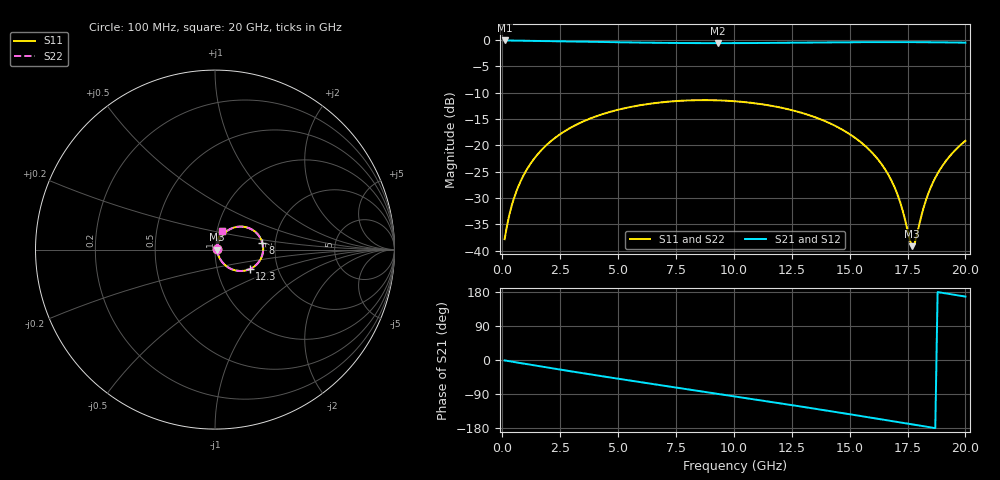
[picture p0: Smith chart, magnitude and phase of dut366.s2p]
! Touchstone file exported from HFSS 2026.1.0
!  File:  C:/ffzhzh/LocalFiles/Ansys_Project_Files/temp_train_TSV_RDL_366_1783039665_53980.aedt
!  Generated:  08:57:09 AM Jul  3, 2026
!  Design:  TSV_RDL
!  Project:  temp_train_TSV_RDL_366_1783039665_53980
! Variables:
!  h_bsmrdl = 5.72um
!  h_ox = 20um
!  h_rdl = 5um
!  h_sub = 50.29um
!  h_tmrdl = 4.52um
!  h_tsv = 50.29um
!  h_via = 3um
!  l_bsmrdl = 556.3um
!  l_sub = 3112.34um
!  l_tmrdl = 234.31um
!  m_sub = 200um
!  pitch = 34.56um
!  r_tsv = 14.77um
!  s_tmrdl = 10um
!  w_bsmrdl = 16.83um
!  w_sub = 500um
!  w_tmrdl = 18.57um
!  x_tsv_center1 = 243.595um
!  x_tsv_center2 = 816.725um
!  x_tsv_center3 = 1069.605um
!  x_tsv_center4 = 1642.735um
!  x_tsv_center5 = 1895.615um
!  x_tsv_center6 = 2468.745um
# GHz S MA R 50.000000
! Terminal data exported
! Port[1] = TM_RDL1_1_T1
! Port[2] = TM_RDL5_1_T1
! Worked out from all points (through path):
!   200 points, 100 MHz to 20 GHz, reference 50 ohm
!   highest |S21| = -0.10 dB at 100 MHz (marker M1); lowest = -0.6 dB at 9.3 GHz (marker M2)
!   group delay of S21, straight-line fit = 26.4 ps
!   lowest |S11| = -39.1 dB at 17.7 GHz (marker M3), VSWR 1.02, Z = 51.1 - j0.00403 ohm
!   |S11| at or under -10 dB: start of sweep to end of sweep
!   |S22| runs from -39.1 to -11.4 dB; largest |S21 - S12| = 5.3e-14
!   S11 on the Smith chart (normalised r, x): 100 MHz: 1.02, +0.01; 8 GHz: 1.71, +0.14; 12.3 GHz: 1.43, -0.33; 20 GHz: 1.06, +0.22
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0.1  0.01288 28.4  0.9888 -1.1  0.9888 -1.1  0.01288 28.4
! Gamma 0 0 0 0
! Port Impedance 50 0 50 0
0.3  0.02172 51.6  0.9873 -3.2  0.9873 -3.2  0.02172 51.6
0.5  0.03127 59.4  0.9861 -5.2  0.9861 -5.2  0.03127 59.4
1.2  0.06602 64.4  0.9826 -12.3  0.9826 -12.3  0.06602 64.4
2.2  0.1142 58.8  0.9756 -22.3  0.9756 -22.3  0.1142 58.8
3.5  0.1688 47.7  0.9639 -35.1  0.9639 -35.1  0.1688 47.7
6.8  0.2549 18.5  0.9385 -66.2  0.9385 -66.2  0.2549 18.5
8  0.2666 8.0  0.9339 -77.2  0.9339 -77.2  0.2666 8.0
9.3  0.2673 -3.3  0.9323 -89.2  0.9323 -89.2  0.2672 -3.3
10.1  0.2614 -10.3  0.9329 -96.5  0.9329 -96.5  0.2614 -10.3
12.3  0.2212 -29.6  0.9398 -117.1  0.9398 -117.1  0.2212 -29.6
13.4  0.1885 -39.2  0.9447 -127.6  0.9447 -127.6  0.1884 -39.2
15.4  0.1107 -55.7  0.9522 -147.0  0.9522 -147.0  0.1107 -55.7
16.1  0.07927 -60.1  0.9536 -153.9  0.9536 -153.9  0.07926 -60.1
16.7  0.05132 -61.5  0.9541 -159.9  0.9541 -159.9  0.05131 -61.4
17.2  0.02811 -55.7  0.9539 -164.9  0.9539 -164.9  0.02812 -55.5
17.7  0.01105 -0.2  0.9531 -169.8  0.9531 -169.8  0.01113 -0.0
17.8  0.01157 23.9  0.9529 -170.8  0.9529 -170.8  0.01165 23.9
18.3  0.03039 69.5  0.9514 -175.8  0.9514 -175.8  0.03044 69.4
18.7  0.04923 74.0  0.9499 -179.8  0.9499 -179.8  0.04926 73.9
19.3  0.07782 73.0  0.9469 174.3  0.9469 174.3  0.07785 72.9
20  0.1104 68.7  0.9427 167.4  0.9427 167.4  0.1104 68.7
